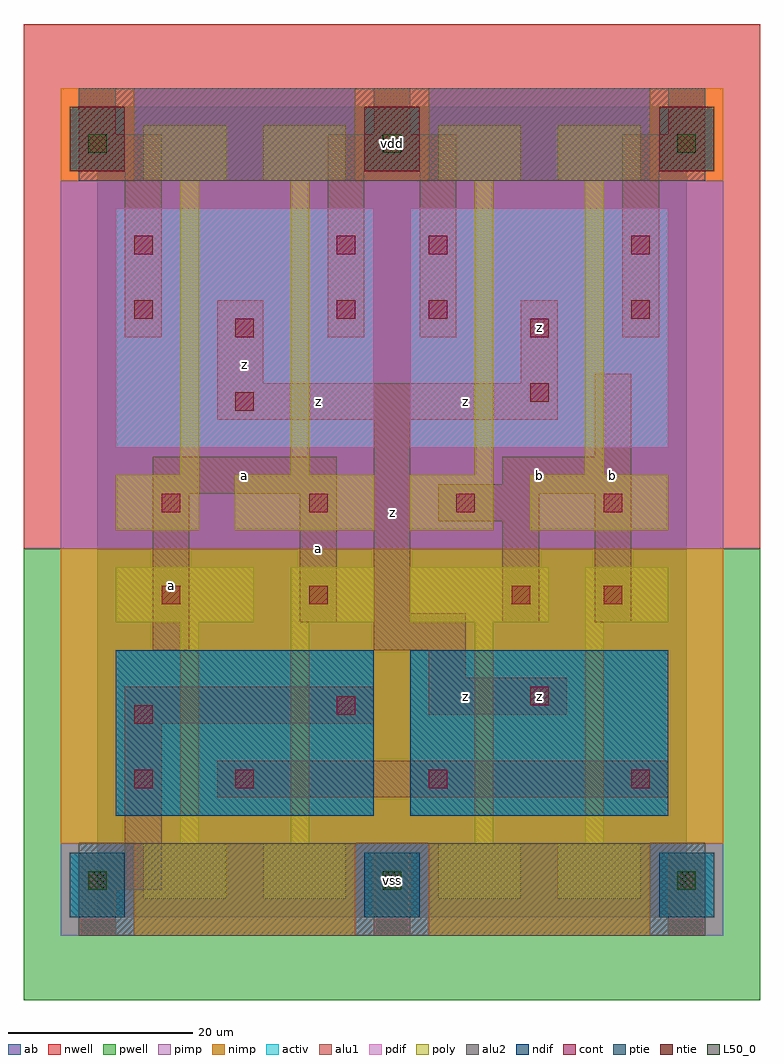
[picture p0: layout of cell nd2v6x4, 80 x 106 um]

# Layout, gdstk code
import gdstk
lib = gdstk.Library(unit=1e-6, precision=1e-09)
def R(c, l, rs):  # rectangles x0, y0, x1, y1
    for r in rs: c.add(gdstk.rectangle(r[:2], r[2:], *l))
def A(c, l, x, y, w, h, nx, ny, dx, dy):  # array of equal rectangles
    R(c, l, [(x+i*dx, y+j*dy, x+i*dx+w, y+j*dy+h) for i in range(nx) for j in range(ny)])
ndif = (3, 0)
pdif = (4, 0)
ntie = (5, 0)
ptie = (6, 0)
cont = (25, 0)
pwell = (41, 0)
nwell = (42, 0)
activ = (43, 0)
pimp = (44, 0)
nimp = (45, 0)
poly = (46, 0)
alu1 = (49, 0)
L50_0 = (50, 0)
alu2 = (51, 0)
ab = (63, 0)

nd2v6x4 = lib.new_cell('nd2v6x4')
R(nd2v6x4, ndif, [(2,11,30,29), (34,11,62,29)])
R(nd2v6x4, pdif, [(2,51,30,77), (34,51,62,77)])
A(nd2v6x4, ntie, -3, 81, 6, 7, 3, 1, 32, 0)
A(nd2v6x4, ptie, -3, 0, 6, 7, 3, 1, 32, 0)
A(nd2v6x4, cont, -1, 3, 2, 2, 3, 2, 32, 80)
A(nd2v6x4, cont, 7, 44, 2, 2, 4, 1, 16, 0)
R(nd2v6x4, cont, [(4,14,6,16), (15,14,17,16), (36,14,38,16), (58,14,60,16), (4,21,6,23), (26,22,28,24), (47,23,49,25), (7,34,9,36), (23,34,25,36), (45,34,47,36), (55,34,57,36), (15,55,17,57), (47,56,49,58), (15,63,17,65), (47,63,49,65), (4,65,6,67), (26,65,28,67), (36,65,38,67), (58,65,60,67), (4,72,6,74), (26,72,28,74), (36,72,38,74), (58,72,60,74)])
R(nd2v6x4, pwell, [(-8,-9,72,40)])
R(nd2v6x4, nwell, [(-8,40,72,97)])
A(nd2v6x4, activ, -3, 0, 6, 7, 3, 2, 32, 81)
R(nd2v6x4, activ, [(2,11,30,29), (34,11,62,29), (2,51,30,77), (34,51,62,77)])
A(nd2v6x4, pimp, -4, -2, 8, 10, 3, 1, 32, 0)
R(nd2v6x4, pimp, [(-4,40,68,80), (4,80,28,90), (36,80,60,90)])
A(nd2v6x4, nimp, -4, 80, 8, 10, 3, 1, 32, 0)
R(nd2v6x4, nimp, [(4,-2,28,8), (36,-2,60,8), (-4,8,68,40)])
R(nd2v6x4, poly, [(5,2,14,8), (18,2,27,8), (37,2,46,8), (50,2,59,8), (9,8,11,32), (21,8,23,32), (41,8,43,32), (53,8,55,32), (2,32,17,38), (21,32,30,38), (34,32,49,38), (53,32,62,38), (2,42,11,48), (15,42,30,48), (34,42,43,48), (47,42,62,48), (9,48,11,80), (21,48,23,80), (41,48,43,80), (53,48,55,80), (5,80,14,86), (18,80,27,86), (37,80,46,86), (50,80,59,86)])
A(nd2v6x4, alu1, -2, 85, 4, 5, 3, 1, 32, 0)
R(nd2v6x4, alu1, [(-2,-2,2,3), (30,-2,34,7), (62,-2,66,7), (-2,3,7,7), (3,7,7,21), (13,13,62,17), (3,21,30,25), (36,22,51,26), (36,26,40,29), (6,29,10,46), (30,29,40,33), (22,32,26,46), (44,32,48,43), (54,32,58,46), (30,33,34,54), (37,43,48,46), (6,46,26,50), (37,46,58,47), (44,47,58,50), (54,50,58,59), (13,54,50,58), (13,58,18,67), (46,58,50,67), (3,63,7,81), (25,63,29,81), (35,63,39,81), (57,63,61,81), (-2,81,7,85), (25,81,39,85), (57,81,66,85)])
A(nd2v6x4, L50_0, -1, 3, 2, 2, 3, 2, 32, 80)
R(nd2v6x4, alu2, [(-2,-2,66,8), (-2,80,66,90)])
R(nd2v6x4, ab, [(0,0,64,88)])
nd2v6x4.add(gdstk.Label('a', (8,36), layer=49, texttype=0))
nd2v6x4.add(gdstk.Label('a', (24,40), layer=49, texttype=0))
nd2v6x4.add(gdstk.Label('a', (16,48), layer=49, texttype=0))
nd2v6x4.add(gdstk.Label('z', (16,60), layer=49, texttype=0))
nd2v6x4.add(gdstk.Label('z', (24,56), layer=49, texttype=0))
nd2v6x4.add(gdstk.Label('z', (40,24), layer=49, texttype=0))
nd2v6x4.add(gdstk.Label('z', (32,44), layer=49, texttype=0))
nd2v6x4.add(gdstk.Label('z', (40,56), layer=49, texttype=0))
nd2v6x4.add(gdstk.Label('z', (48,24), layer=49, texttype=0))
nd2v6x4.add(gdstk.Label('b', (56,48), layer=49, texttype=0))
nd2v6x4.add(gdstk.Label('b', (48,48), layer=49, texttype=0))
nd2v6x4.add(gdstk.Label('z', (48,64), layer=49, texttype=0))
nd2v6x4.add(gdstk.Label('vss', (32,4), layer=51, texttype=0))
nd2v6x4.add(gdstk.Label('vdd', (32,84), layer=51, texttype=0))

lib.write_gds('nd2v6x4.gds')
